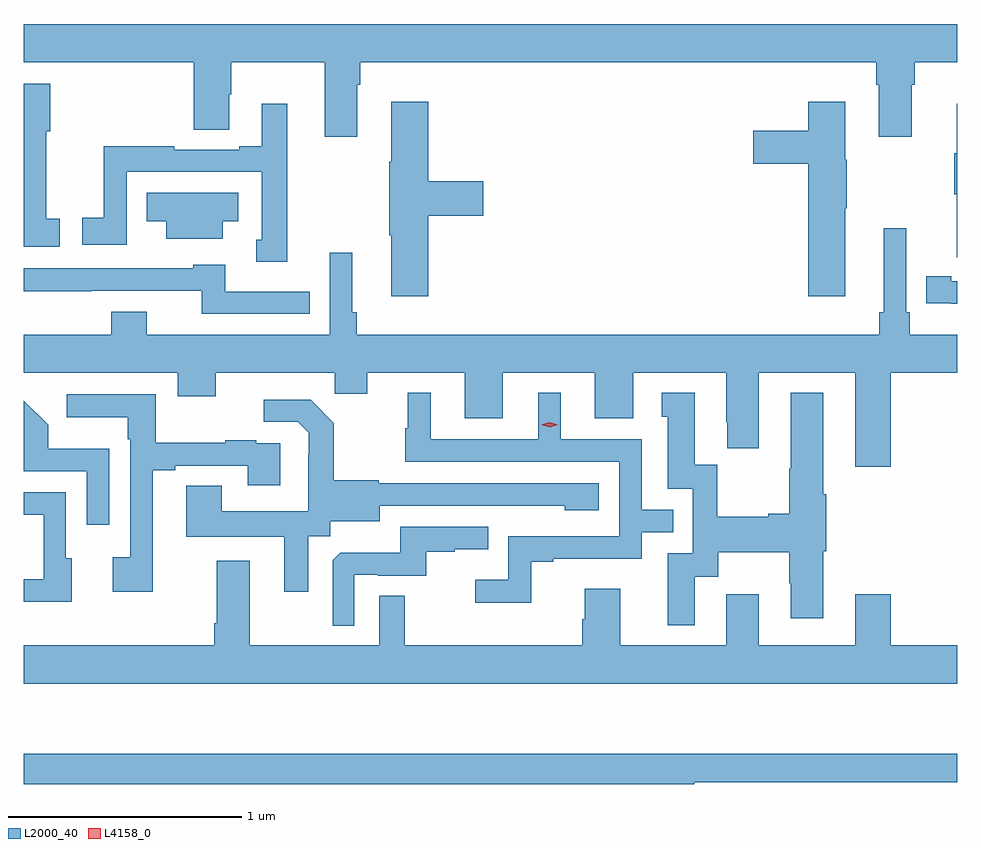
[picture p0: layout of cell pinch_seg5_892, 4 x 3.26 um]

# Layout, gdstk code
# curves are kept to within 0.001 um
import gdstk
lib = gdstk.Library(unit=1e-6, precision=1e-09)
def P(c, l, *ps):  # polygons
    for p in ps: c.add(gdstk.Polygon(p, *l))
L2000_40 = (2000, 40)
L4158_0 = (4158, 0)

pinch_seg5_892 = lib.new_cell('pinch_seg5_892')
P(pinch_seg5_892, L2000_40, [(627.619,899.288),(627.632,899.288),(627.632,899.384),(629.843,899.384),(629.843,899.288),(629.855,899.288),(629.855,899.064),(629.995,899.064),(629.995,899.288),(630.008,899.288),(630.008,899.384),(630.19,899.384),(630.19,899.548),(626.19,899.548),(626.19,899.384),(626.918,899.384),(626.918,899.095),(627.07,899.095),(627.07,899.246),(627.078,899.246),(627.078,899.384),(627.479,899.384),(627.479,899.064),(627.619,899.064)],
  [(626.344,898.713),(626.286,898.713),(626.286,899.089),(626.303,899.089),(626.303,899.292),(626.19,899.292),(626.19,898.593),(626.344,898.593)],
  [(629.71,898.759),(629.718,898.759),(629.718,898.965),(629.71,898.965),(629.71,899.215),(629.552,899.215),(629.552,899.091),(629.316,899.091),(629.316,898.949),(629.552,898.949),(629.552,898.38),(629.71,898.38)],
  [(627.923,898.727),(628.159,898.727),(628.159,898.874),(627.923,898.874),(627.923,899.215),(627.764,899.215),(627.764,898.957),(627.757,898.957),(627.757,898.643),(627.764,898.643),(627.764,898.38),(627.923,898.38)],
  [(627.319,899.206),(627.209,899.206),(627.209,899.023),(627.113,899.023),(627.113,899.01),(626.834,899.01),(626.834,899.023),(626.533,899.023),(626.533,898.718),(626.439,898.718),(626.439,898.602),(626.631,898.602),(626.631,898.914),(627.21,898.914),(627.21,898.623),(627.185,898.623),(627.185,898.529),(627.319,898.529)],
  [(630.19,899.206),(630.188,899.206),(630.188,898.993),(630.177,898.993),(630.177,898.819),(630.188,898.819),(630.188,898.548),(630.19,898.548)],
  [(627.043,898.703),(627.109,898.703),(627.109,898.825),(626.716,898.825),(626.716,898.703),(626.801,898.703),(626.801,898.628),(627.043,898.628)],
  [(629.906,898.052),(630.19,898.052),(630.19,898.216),(629.987,898.216),(629.987,898.312),(629.973,898.312),(629.973,898.672),(629.876,898.672),(629.876,898.312),(629.857,898.312),(629.857,898.216),(627.617,898.216),(627.617,898.312),(627.598,898.312),(627.598,898.567),(627.501,898.567),(627.501,898.216),(626.716,898.216),(626.716,898.315),(626.564,898.315),(626.564,898.216),(626.19,898.216),(626.19,898.052),(626.849,898.052),(626.849,897.953),(627.013,897.953),(627.013,898.052),(627.523,898.052),(627.523,897.962),(627.661,897.962),(627.661,898.052),(628.079,898.052),(628.079,897.858),(628.243,897.858),(628.243,898.052),(628.637,898.052),(628.637,897.858),(628.801,897.858),(628.801,898.052),(629.201,898.052),(629.201,897.841),(629.204,897.841),(629.204,897.729),(629.341,897.729),(629.341,898.052),(629.753,898.052),(629.753,897.651),(629.906,897.651)],
  [(627.416,898.401),(627.052,898.401),(627.052,898.516),(626.916,898.516),(626.916,898.5),(626.19,898.5),(626.19,898.403),(626.48,898.403),(626.48,898.404),(626.953,898.404),(626.953,898.305),(627.416,898.305)],
  [(630.19,898.446),(630.166,898.446),(630.166,898.466),(630.058,898.466),(630.058,898.35),(630.166,898.35),(630.166,898.349),(630.19,898.349)],
  [(629.065,897.178),(629.167,897.178),(629.167,897.284),(629.47,897.284),(629.47,897.15),(629.477,897.15),(629.477,897),(629.617,897),(629.617,897.288),(629.63,897.288),(629.63,897.532),(629.617,897.532),(629.617,897.967),(629.477,897.967),(629.477,897.641),(629.47,897.641),(629.47,897.449),(629.381,897.449),(629.381,897.436),(629.163,897.436),(629.163,897.659),(629.065,897.659),(629.065,897.967),(628.925,897.967),(628.925,897.864),(628.949,897.864),(628.949,897.555),(629.058,897.555),(629.058,897.279),(628.949,897.279),(628.949,896.97),(629.065,896.97)],
  [(628.365,897.243),(628.459,897.243),(628.459,897.255),(628.839,897.255),(628.839,897.369),(628.973,897.369),(628.973,897.465),(628.839,897.465),(628.839,897.768),(628.492,897.768),(628.492,897.967),(628.394,897.967),(628.394,897.768),(627.934,897.768),(627.934,897.967),(627.836,897.967),(627.836,897.816),(627.825,897.816),(627.825,897.672),(628.743,897.672),(628.743,897.351),(628.266,897.351),(628.266,897.166),(628.125,897.166),(628.125,897.068),(628.365,897.068)],
  [(626.743,897.636),(626.839,897.636),(626.839,897.654),(627.149,897.654),(627.149,897.57),(627.289,897.57),(627.289,897.75),(627.185,897.75),(627.185,897.763),(627.053,897.763),(627.053,897.752),(626.755,897.752),(626.755,897.96),(626.373,897.96),(626.373,897.863),(626.634,897.863),(626.634,897.767),(626.646,897.767),(626.646,897.262),(626.571,897.262),(626.571,897.114),(626.743,897.114)],
  [(627.409,897.352),(627.504,897.352),(627.504,897.416),(627.715,897.416),(627.715,897.483),(628.509,897.482),(628.509,897.464),(628.654,897.464),(628.654,897.579),(627.711,897.579),(627.711,897.592),(627.519,897.592),(627.519,897.837),(627.419,897.937),(627.219,897.937),(627.219,897.843),(627.363,897.843),(627.41,897.796),(627.41,897.701),(627.408,897.701),(627.408,897.46),(627.037,897.46),(627.037,897.569),(626.885,897.569),(626.885,897.35),(627.305,897.35),(627.305,897.114),(627.409,897.114)],
  [(626.556,897.727),(626.295,897.727),(626.295,897.83),(626.19,897.934),(626.19,897.63),(626.46,897.63),(626.46,897.402),(626.556,897.402)],
  [(626.395,897.258),(626.37,897.258),(626.37,897.54),(626.19,897.54),(626.19,897.444),(626.274,897.444),(626.274,897.168),(626.19,897.168),(626.19,897.071),(626.395,897.071)],
  [(627.606,897.186),(627.706,897.186),(627.706,897.183),(627.914,897.183),(627.914,897.285),(628.037,897.285),(628.037,897.296),(628.181,897.296),(628.181,897.393),(627.804,897.393),(627.804,897.281),(627.545,897.281),(627.513,897.249),(627.513,896.969),(627.606,896.969)],
  [(630.19,896.884),(629.906,896.884),(629.906,897.103),(629.753,897.103),(629.753,896.884),(629.341,896.884),(629.341,897.103),(629.201,897.103),(629.201,896.884),(628.747,896.884),(628.747,897.127),(628.595,897.127),(628.595,896.997),(628.583,896.997),(628.583,896.884),(627.823,896.884),(627.823,897.098),(627.714,897.098),(627.714,896.884),(627.157,896.884),(627.157,897.247),(627.017,897.247),(627.017,896.98),(627.005,896.98),(627.005,896.884),(626.19,896.884),(626.19,896.72),(630.19,896.72)],
  [(629.063,896.298),(630.19,896.298),(630.19,896.419),(626.19,896.419),(626.19,896.29),(629.063,896.29)])
P(pinch_seg5_892, L4158_0, [(628.443,897.82),(628.408,897.83),(628.407,897.83),(628.408,897.83),(628.443,897.84),(628.479,897.83),(628.479,897.83),(628.479,897.83)])

lib.write_gds('pinch_seg5_892.gds')
